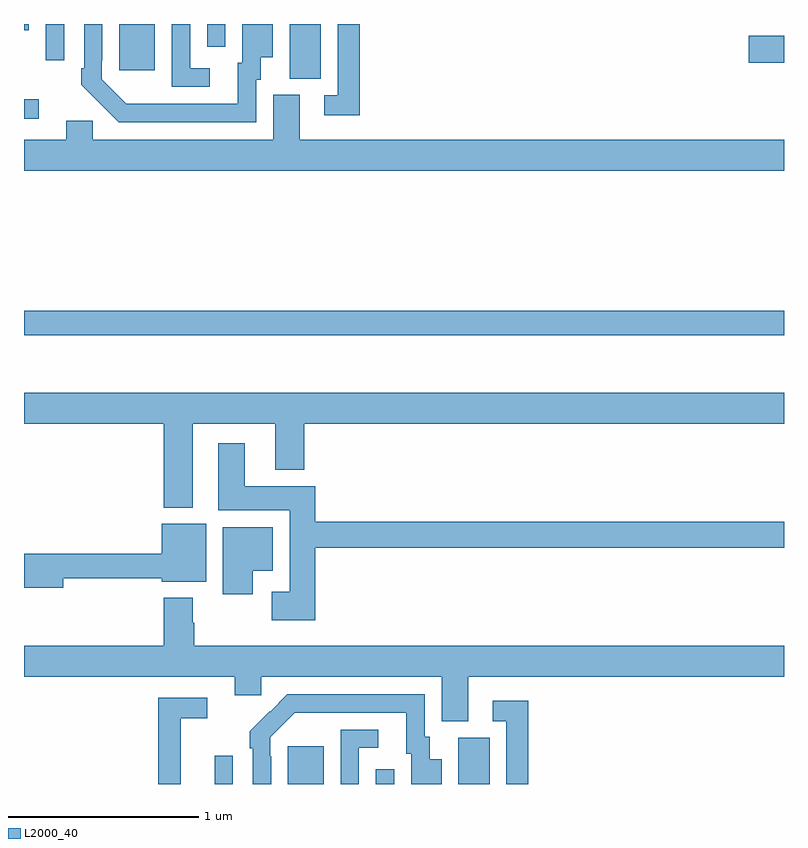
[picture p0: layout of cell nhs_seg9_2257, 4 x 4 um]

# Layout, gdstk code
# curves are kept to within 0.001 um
import gdstk
lib = gdstk.Library(unit=1e-6, precision=1e-09)
def R(c, l, rs):  # rectangles x0, y0, x1, y1
    for r in rs: c.add(gdstk.rectangle(r[:2], r[2:], *l))
def P(c, l, *ps):  # polygons
    for p in ps: c.add(gdstk.Polygon(p, *l))
L2000_40 = (2000, 40)

nhs_seg9_2257 = lib.new_cell('nhs_seg9_2257')
R(nhs_seg9_2257, L2000_40, [(240.003,1218.5,240.099,1218.649), (240.389,1218.5,240.577,1218.7), (240.852,1218.5,240.948,1218.577), (241.286,1218.5,241.45,1218.744), (239,1220.862,243,1220.99), (239,1222.002,239.077,1222.103), (240.398,1222.213,240.562,1222.5), (239.501,1222.257,239.689,1222.5), (242.814,1222.297,243,1222.439), (239.115,1222.308,239.211,1222.5), (239.964,1222.38,240.06,1222.5), (239,1222.466,239.026,1222.5)])
P(nhs_seg9_2257, L2000_40, [(240.222,1222.206),(240.247,1222.206),(240.247,1222.325),(240.31,1222.325),(240.31,1222.5),(240.149,1222.5),(240.149,1222.296),(240.125,1222.296),(240.125,1222.08),(239.538,1222.081),(239.409,1222.209),(239.409,1222.309),(239.412,1222.309),(239.412,1222.5),(239.316,1222.5),(239.316,1222.267),(239.301,1222.267),(239.301,1222.179),(239.498,1221.984),(240.222,1221.984)],
  [(239.977,1222.266),(239.874,1222.266),(239.874,1222.5),(239.778,1222.5),(239.778,1222.17),(239.977,1222.17)],
  [(240.767,1222.5),(240.651,1222.5),(240.651,1222.125),(240.579,1222.125),(240.579,1222.02),(240.767,1222.02)],
  [(243,1221.892),(240.451,1221.892),(240.451,1222.128),(240.311,1222.128),(240.311,1221.892),(239.361,1221.892),(239.361,1221.99),(239.222,1221.99),(239.222,1221.892),(239,1221.892),(239,1221.728),(243,1221.728)],
  [(239,1220.396),(239.735,1220.396),(239.735,1219.955),(239.887,1219.955),(239.887,1220.396),(240.323,1220.396),(240.323,1220.153),(240.476,1220.153),(240.476,1220.396),(243,1220.396),(243,1220.56),(239,1220.56)],
  [(240.533,1219.744),(243,1219.744),(243,1219.88),(240.533,1219.88),(240.533,1220.068),(240.163,1220.068),(240.163,1220.293),(240.023,1220.293),(240.023,1219.94),(240.398,1219.94),(240.398,1219.513),(240.303,1219.513),(240.303,1219.361),(240.533,1219.361)],
  [(239.206,1219.584),(239.726,1219.584),(239.726,1219.565),(239.959,1219.565),(239.959,1219.87),(239.726,1219.87),(239.726,1219.712),(239,1219.712),(239,1219.534),(239.206,1219.534)],
  [(240.205,1219.622),(240.31,1219.622),(240.31,1219.852),(240.047,1219.852),(240.047,1219.5),(240.205,1219.5)],
  [(241.339,1219.064),(243,1219.064),(243,1219.228),(239.895,1219.228),(239.895,1219.349),(239.887,1219.349),(239.887,1219.48),(239.735,1219.48),(239.735,1219.228),(239,1219.228),(239,1219.064),(240.11,1219.064),(240.11,1218.966),(240.249,1218.966),(240.249,1219.064),(241.199,1219.064),(241.199,1218.829),(241.339,1218.829)],
  [(240.3,1218.647),(240.297,1218.647),(240.297,1218.747),(240.426,1218.876),(241.013,1218.876),(241.013,1218.66),(241.037,1218.66),(241.037,1218.5),(241.198,1218.5),(241.198,1218.631),(241.135,1218.631),(241.135,1218.75),(241.11,1218.75),(241.11,1218.972),(240.386,1218.972),(240.189,1218.777),(240.189,1218.689),(240.204,1218.689),(240.204,1218.5),(240.3,1218.5)],
  [(239.825,1218.846),(239.965,1218.846),(239.965,1218.954),(239.707,1218.954),(239.707,1218.5),(239.825,1218.5)],
  [(241.655,1218.937),(241.467,1218.937),(241.467,1218.831),(241.539,1218.831),(241.539,1218.5),(241.655,1218.5)],
  [(240.762,1218.69),(240.865,1218.69),(240.865,1218.786),(240.666,1218.786),(240.666,1218.5),(240.762,1218.5)])

lib.write_gds('nhs_seg9_2257.gds')
